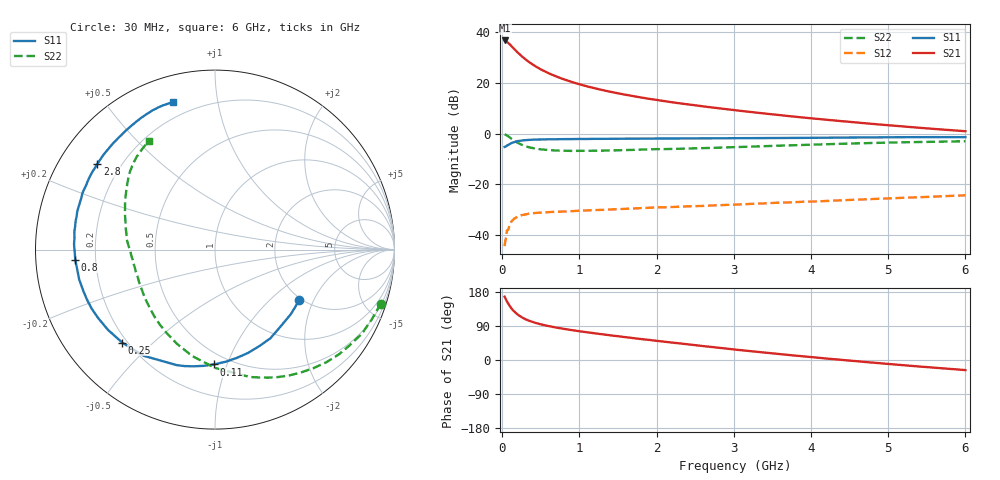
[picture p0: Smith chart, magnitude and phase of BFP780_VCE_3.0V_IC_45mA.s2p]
! Infineon Technologies  Discrete & RF Semiconductors
! BFP780
! VCE =  3.0 V,  IC =  45 mA
! Common Emitter S-Parameters:  Jul 2015
# GHz  S  MA  R  50
!  f  S11  S21  S12  S22
! GHz  MAG  ANG  MAG  ANG  MAG  ANG  MAG  ANG
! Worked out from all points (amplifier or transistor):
!   75 points, 30 MHz to 6 GHz, reference 50 ohm
!   highest |S21| = 36.8 dB at 30 MHz (marker M1)
!   |S21| within 3 dB of that: start of sweep to 142.6 MHz
!   unconditionally stable (mu >= 1): 2.061 GHz to end of sweep
!   at 150 MHz: K = 0.12, MSG = 33.6 dB, |S12| = -33.7 dB
!   at 2.3 GHz: K = 1.08, MAG = 18.7 dB, |S12| = -28.8 dB
!   at 6 GHz: K = 1.31, MAG = 9.3 dB, |S12| = -24.4 dB
!   S11 on the Smith chart (normalised r, x): 30 MHz: 1.95, -1.56; 110 MHz: 0.42, -0.90; 250 MHz: 0.18, -0.40; 800 MHz: 0.12, -0.04; 2.8 GHz: 0.12, +0.32; 6 GHz: 0.12, +0.75
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0.03  0.5478 -30.8  69.35 167.1  0.006 75.9  0.9719 -18.0
0.05  0.5627 -49.4  66.73 158.6  0.009 66.3  0.9429 -29.8
0.07  0.5914 -65.1  63.24 151.2  0.0123 68.2  0.904 -40.2
0.09  0.6161 -78.9  59.31 144.5  0.0148 56.9  0.8585 -50.3
0.11  0.6397 -90.5  55.27 138.5  0.0174 51.6  0.8144 -59.4
0.13  0.6611 -100.4  51.46 133.4  0.0192 48.5  0.7729 -67.4
0.15  0.6783 -108.5  47.82 128.9  0.0207 45.0  0.7359 -74.7
0.2  0.7127 -123.9  40.03 119.8  0.0231 37.3  0.659 -90.0
0.25  0.7319 -134.9  34.07 113.0  0.0246 32.3  0.6063 -102.1
0.3  0.7452 -143.1  29.38 107.6  0.0254 28.0  0.5656 -112.1
0.35  0.7543 -149.5  25.75 103.4  0.0264 25.9  0.537 -120.1
0.45  0.7655 -158.4  20.53 96.8  0.0273 22.6  0.5025 -132.3
0.6  0.7749 -167.6  15.63 89.5  0.0282 19.7  0.4751 -145.3
0.8  0.7807 -175.9  11.8 82.1  0.029 19.1  0.4605 -156.6
1.1  0.7856 175.2  8.58 73.1  0.0305 18.7  0.4577 -167.8
1.5  0.7929 166.4  6.264 62.7  0.0323 19.1  0.4695 -177.5
2.1  0.8027 155.5  4.392 48.3  0.0351 19.4  0.4956 172.2
2.8  0.8112 144.0  3.181 32.4  0.0386 19.8  0.5287 161.0
3.1  0.8155 139.4  2.811 25.8  0.0402 20.0  0.5476 156.3
4.1  0.8304 125.3  1.948 5.8  0.0461 18.8  0.6119 143.0
5.1  0.8506 114.1  1.427 -12.1  0.0534 15.8  0.6704 131.4
6  0.8544 105.9  1.117 -26.6  0.0606 11.6  0.7087 121.1
